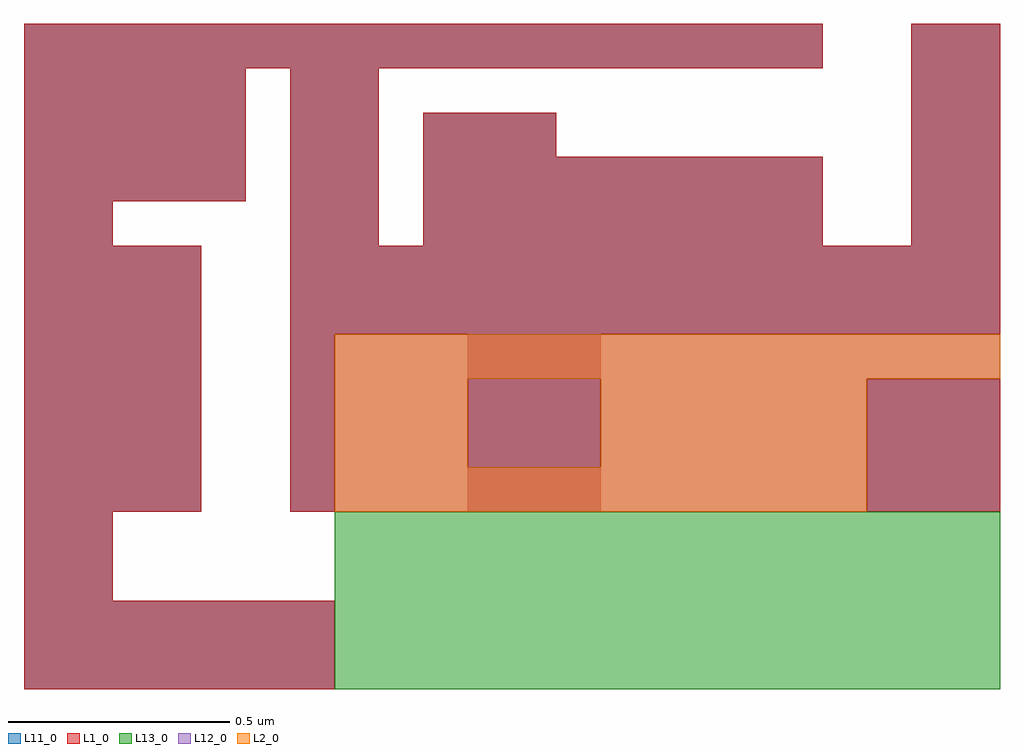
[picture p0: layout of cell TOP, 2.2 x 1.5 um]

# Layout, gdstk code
from math import pi, radians
import gdstk
lib = gdstk.Library(unit=1e-6, precision=2.5e-10)
def R(c, l, rs):  # rectangles x0, y0, x1, y1
    for r in rs: c.add(gdstk.rectangle(r[:2], r[2:], *l))
def P(c, l, *ps):  # polygons
    for p in ps: c.add(gdstk.Polygon(p, *l))
L1_0 = (1, 0)
L2_0 = (2, 0)
L11_0 = (11, 0)
L12_0 = (12, 0)
L13_0 = (13, 0)

c_a = lib.new_cell('A')
P(c_a, L1_0, [(0,0),(0,1.5),(0.7,1.5),(0.7,0.4),(0.6,0.4),(0.6,1.4),(0.2,1.4),(0.2,1),(0.4,1),(0.4,0.4),(0.2,0.4),(0.2,0.2),(0.7,0.2),(0.7,0)])

c_cc = lib.new_cell('CC')
R(c_cc, L1_0, [(0,0,0.3,0.3)])

c_b = lib.new_cell('B')
R(c_b, L2_0, [(0,0,0.3,0.4), (0.3,0.3,0.6,0.4)])
c_b.add(gdstk.Reference(c_cc, (0.3,0)))

top = lib.new_cell('TOP')
R(top, L11_0, [(1,0.4,1.3,0.7), (1.9,0.4,2.2,0.7), (1,0.5,1.3,0.8), (0.9,1,1.2,1.3), (0.2,1.1,0.5,1.4)])
P(top, L11_0, [(0,0),(0,1.5),(0.7,1.5),(0.7,0.4),(0.6,0.4),(0.6,1.4),(0.2,1.4),(0.2,1),(0.4,1),(0.4,0.4),(0.2,0.4),(0.2,0.2),(0.7,0.2),(0.7,0)],
  [(0.7,0.8),(0.7,1.5),(1.8,1.5),(1.8,1.4),(0.8,1.4),(0.8,1),(1.2,1),(1.2,1.2),(1.8,1.2),(1.8,1),(2,1),(2,1.5),(2.2,1.5),(2.2,0.8)])
R(top, L12_0, [(0.7,0.4,1,0.8), (1,0.4,1.3,0.5), (1.3,0.4,1.6,0.8), (1.6,0.4,1.9,0.8), (1,0.7,1.3,0.8), (1.9,0.7,2.2,0.8)])
R(top, L13_0, [(0.7,0,2.2,0.4)])
top.add(gdstk.Reference(c_a, (0,0)))
top.add(gdstk.Reference(c_a, (2.2,0.8), rotation=pi/2))
top.add(gdstk.Reference(c_b, (0.7,0.4)))
top.add(gdstk.Reference(c_b, (1.6,0.8), rotation=pi))
top.add(gdstk.Reference(c_b, (1.6,0.4)))
top.add(gdstk.Reference(c_cc, (0.2,1.1)))
top.add(gdstk.Reference(c_cc, (0.9,1)))

lib.write_gds('TOP.gds')
